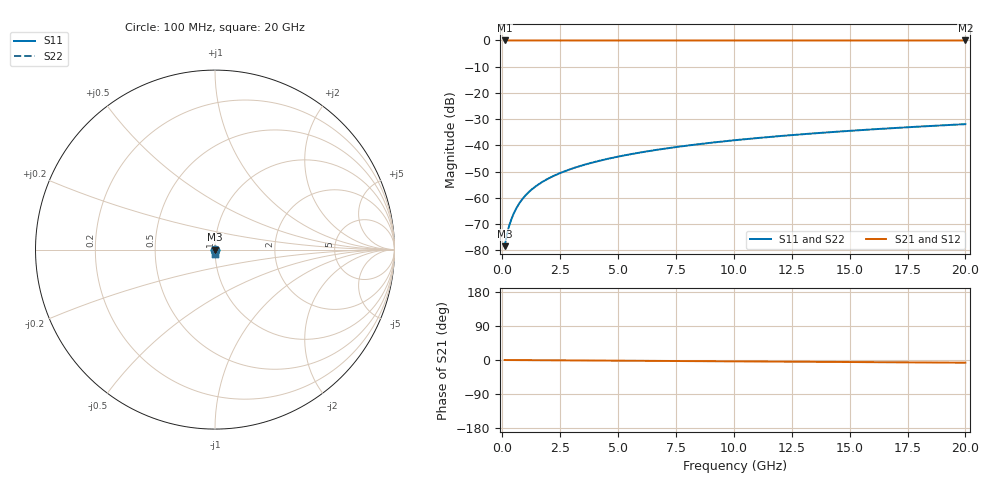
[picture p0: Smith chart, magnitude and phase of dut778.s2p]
! Touchstone file exported from HFSS 2026.1.0
!  File:  C:/ffzhzh/LocalFiles/Ansys_Project_Files/temp_train_TSV_778_1783183606_55132.aedt
!  Generated:  12:48:07 AM Jul  5, 2026
!  Design:  TSV
!  Project:  temp_train_TSV_778_1783183606_55132
! Variables:
!  h_bsmrdl = 2um
!  h_ox = 20um
!  h_rdl = 5um
!  h_sub = 70.01um
!  h_tmrdl = 5um
!  h_tsv = 70.01um
!  h_via = 3um
!  l_bsmrdl = 300um
!  l_sub = 425.82um
!  l_tmrdl = 200um
!  m_sub = 200um
!  pitch = 42.53um
!  r_tsv = 12.91um
!  s_tmrdl = 10um
!  w_bsmrdl = 18um
!  w_sub = 500um
!  w_tmrdl = 12um
!  x_tsv_center1 = 206um
!  x_tsv_center2 = 524um
!  x_tsv_center3 = 736um
!  x_tsv_center4 = 1054um
!  x_tsv_center5 = 1266um
!  x_tsv_center6 = 1584um
# GHz S MA R 50.000000
! Terminal data exported
! Port[1] = TSV1_1_T1
! Port[2] = TSV1_1_T2
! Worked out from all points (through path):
!   200 points, 100 MHz to 20 GHz, reference 50 ohm
!   highest |S21| = 0.00 dB at 100 MHz (marker M1); lowest = 0.0 dB at 20 GHz (marker M2)
!   lowest |S11| = -78.4 dB at 100 MHz (marker M3), VSWR 1.00, Z = 50 - j0.00884 ohm
!   |S11| at or under -10 dB: start of sweep to end of sweep
!   |S22| runs from -78.4 to -31.9 dB; largest |S21 - S12| = 3.3e-15
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0.1  0.0001209 -47.0  0.9999 -0.0  0.9999 -0.0  0.0001209 -47.0
! Gamma 0 0 0 0
! Port Impedance 50 0 50 0
0.2  0.0002034 -62.3  0.9999 -0.1  0.9999 -0.1  0.0002034 -62.3
0.3  0.0002992 -67.9  0.9999 -0.1  0.9999 -0.1  0.0002992 -67.9
0.4  0.0004034 -70.7  0.9999 -0.2  0.9999 -0.2  0.0004034 -70.7
0.5  0.0005141 -72.5  0.9998 -0.2  0.9998 -0.2  0.0005141 -72.5
0.6  0.0006296 -73.8  0.9998 -0.2  0.9998 -0.2  0.0006296 -73.8
0.8  0.0008697 -76.0  0.9998 -0.3  0.9998 -0.3  0.0008697 -76.0
1.1  0.00124 -78.4  0.9997 -0.4  0.9997 -0.4  0.00124 -78.4
1.3  0.00149 -79.7  0.9997 -0.5  0.9997 -0.5  0.00149 -79.7
1.5  0.001739 -80.7  0.9997 -0.5  0.9997 -0.5  0.001739 -80.7
1.8  0.002113 -81.9  0.9997 -0.7  0.9997 -0.7  0.002113 -81.9
2.1  0.002487 -82.9  0.9997 -0.8  0.9997 -0.8  0.002487 -82.9
2.7  0.003236 -84.3  0.9996 -1.0  0.9996 -1.0  0.003236 -84.3
3.5  0.004237 -85.5  0.9996 -1.3  0.9996 -1.3  0.004237 -85.5
4.2  0.005118 -86.3  0.9995 -1.5  0.9995 -1.5  0.005118 -86.3
5  0.006131 -87.1  0.9995 -1.8  0.9995 -1.8  0.006131 -87.1
6.8  0.008428 -88.4  0.9994 -2.4  0.9994 -2.4  0.008428 -88.4
8.3  0.01035 -89.3  0.9993 -3.0  0.9993 -3.0  0.01035 -89.3
10.1  0.01267 -90.3  0.9992 -3.6  0.9992 -3.6  0.01267 -90.3
13.4  0.01693 -92.0  0.999 -4.8  0.999 -4.8  0.01693 -92.0
16.7  0.02119 -93.4  0.9988 -6.0  0.9988 -6.0  0.02119 -93.4
20  0.02547 -94.8  0.9986 -7.1  0.9986 -7.1  0.02547 -94.8
